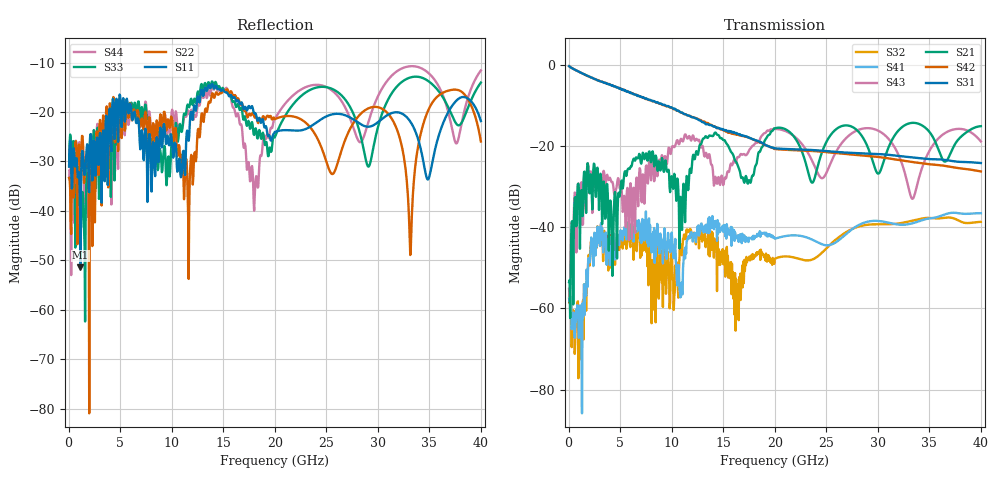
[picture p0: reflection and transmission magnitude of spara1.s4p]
! Created Fri Jan 30 21:06:49 2015
# hz S ma R 50
! 4 Port Network Data from SP1.SP block
! freq  magS11  angS11  magS12  angS12  magS13  angS13  magS14  angS14
!  magS21  angS21  magS22  angS22  magS23  angS23  magS24  angS24
!  magS31  angS31  magS32  angS32  magS33  angS33  magS34  angS34
!  magS41  angS41  magS42  angS42  magS43  angS43  magS44  angS44
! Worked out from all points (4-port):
!   800 points, 50 MHz to 40 GHz, reference 50 ohm
!   strongest paths, dB at 50 MHz, 10.05 GHz, 20.05 GHz, 30.05 GHz, 40 GHz:
!     S31: -0.3, -10.5, -20.6, -21.9, -24.2
!     S42: -0.3, -10.6, -20.7, -22.7, -26.2
!     S21: -53.5, -27.8, -15.6, -26.8, -15.1
!     S43: -55.2, -20.1, -15.8, -16.2, -18.8
!     S41: -55.2, -42.9, -42.8, -38.4, -36.5
!     S32: -57.6, -48.6, -47.7, -39.3, -38.7
!   lowest |S11| = -51.4 dB at 1.15 GHz (marker M1), VSWR 1.01, Z = 50.3 - j0.0904 ohm
!   |S11| at or under -10 dB: start of sweep to end of sweep
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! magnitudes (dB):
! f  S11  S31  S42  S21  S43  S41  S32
! 50 MHz  -31.1  -0.3  -0.3  -53.5  -55.2  -55.2  -57.6
! 1.15 GHz  -51.4  -1.8  -1.8  -34.7  -32.1  -64.7  -70.6
! 2.95 GHz  -28.1  -3.9  -3.8  -35.7  -30.6  -40.1  -40.5
! 30.1 GHz  -21.9  -21.9  -22.7  -26.7  -16.3  -38.4  -39.3
! 33.15 GHz  -21.9  -22.7  -23.8  -14.3  -32.0  -39.1  -38.5
! 35.5 GHz  -28.0  -23.2  -24.6  -18.5  -19.2  -37.6  -37.8
! 40 GHz  -21.8  -24.2  -26.2  -15.1  -18.8  -36.5  -38.7
